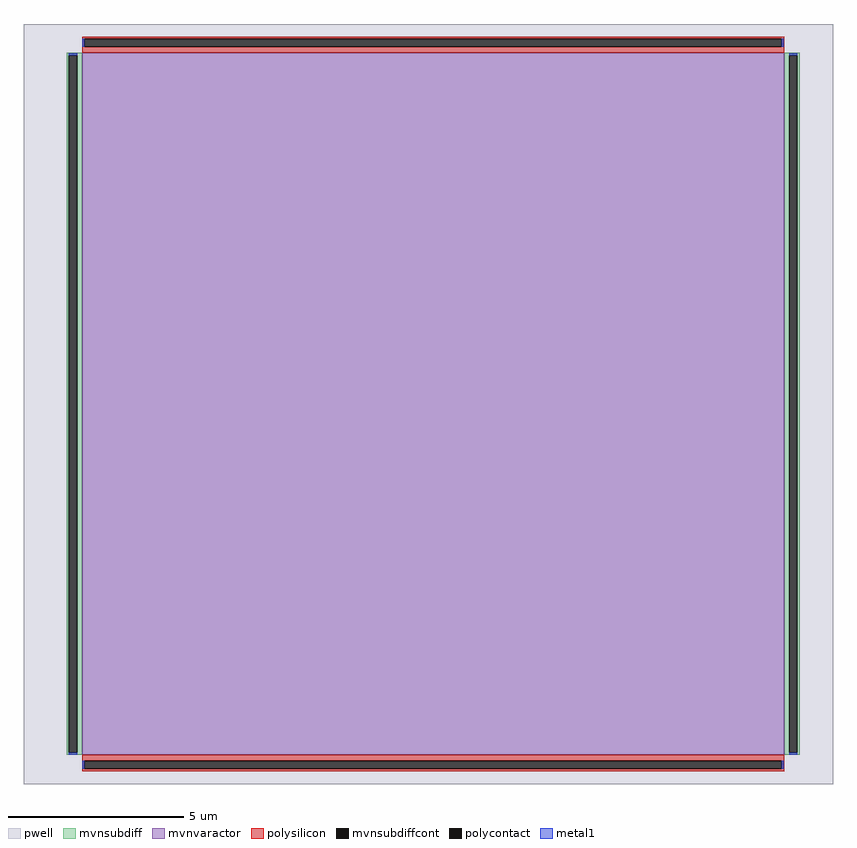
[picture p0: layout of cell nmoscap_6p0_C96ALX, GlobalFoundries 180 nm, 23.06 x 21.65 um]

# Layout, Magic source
magic
tech gf180mcuD
magscale 1 10
<< pwell >>
rect -2332 -2166 2279 2164
<< mvnsubdiff >>
rect -2088 1987 -2000 2000
rect -2088 -1987 -2075 1987
rect -2029 -1987 -2000 1987
rect -2088 -2000 -2000 -1987
rect 2000 1987 2088 2000
rect 2000 -1987 2029 1987
rect 2075 -1987 2088 1987
rect 2000 -2000 2088 -1987
<< mvnsubdiffcont >>
rect -2075 -1987 -2029 1987
rect 2029 -1987 2075 1987
<< mvnvaractor >>
rect -2000 -2000 2000 2000
<< polysilicon >>
rect -2000 2079 2000 2092
rect -2000 2033 -1987 2079
rect 1987 2033 2000 2079
rect -2000 2000 2000 2033
rect -2000 -2033 2000 -2000
rect -2000 -2079 -1987 -2033
rect 1987 -2079 2000 -2033
rect -2000 -2092 2000 -2079
<< polycontact >>
rect -1987 2033 1987 2079
rect -1987 -2079 1987 -2033
<< metal1 >>
rect -1998 2033 -1987 2079
rect 1987 2033 1998 2079
rect -2075 1987 -2029 1998
rect -2075 -1998 -2029 -1987
rect 2029 1987 2075 1998
rect 2029 -1998 2075 -1987
rect -1998 -2079 -1987 -2033
rect 1987 -2079 1998 -2033
<< properties >>
string gencell nmoscap_6p0
string library gf180mcu
string parameters w 20 l 20 m 1 nf 1 diffcov 100 polycov 100 guard 0 glc 0 grc 0 gtc 0 gbc 0 tbcov 100 rlcov 100 topc 0 botc 0 poverlap 1 doverlap 1 lmin 0.28 wmin 0.3 class mosfet full_metal 0 compatible {nmoscap_3p3 nmoscap_6p0}
<< end >>
